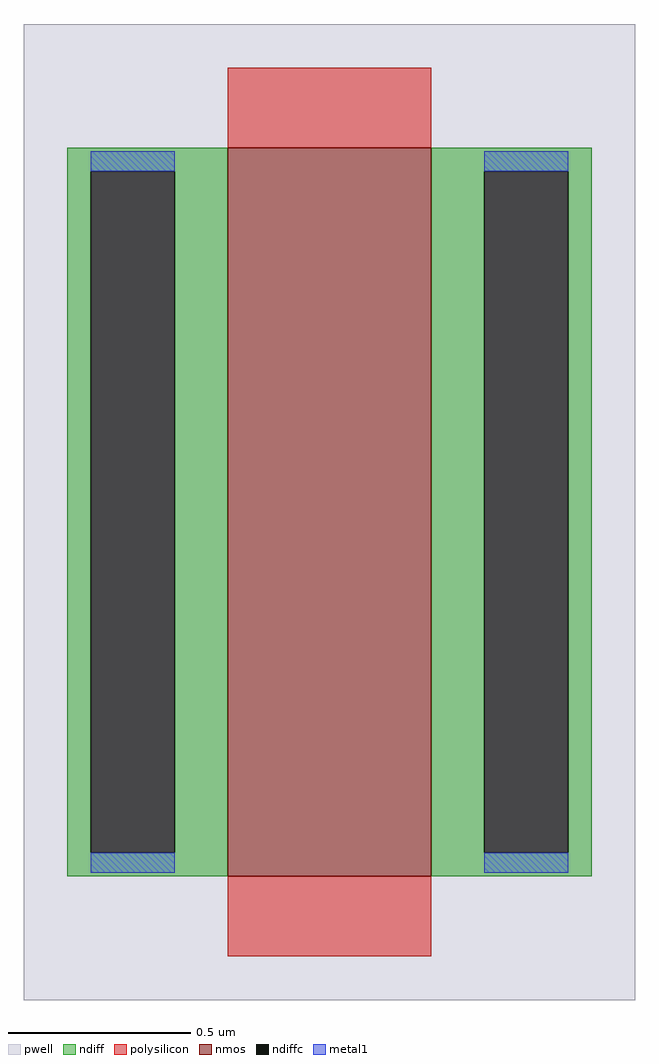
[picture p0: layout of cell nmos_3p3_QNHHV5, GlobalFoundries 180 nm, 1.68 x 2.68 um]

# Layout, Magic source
magic
tech gf180mcuC
magscale 1 10
<< pwell >>
rect -168 -268 168 268
<< nmos >>
rect -56 -200 56 200
<< ndiff >>
rect -144 187 -56 200
rect -144 -187 -131 187
rect -85 -187 -56 187
rect -144 -200 -56 -187
rect 56 187 144 200
rect 56 -187 85 187
rect 131 -187 144 187
rect 56 -200 144 -187
<< ndiffc >>
rect -131 -187 -85 187
rect 85 -187 131 187
<< polysilicon >>
rect -56 200 56 244
rect -56 -244 56 -200
<< metal1 >>
rect -131 187 -85 198
rect -131 -198 -85 -187
rect 85 187 131 198
rect 85 -198 131 -187
<< properties >>
string gencell nmos_3p3
string library gf180mcu
string parameters w 2 l 0.56 m 1 nf 1 diffcov 100 polycov 100 guard 0 glc 0 grc 0 gtc 0 gbc 0 tbcov 100 rlcov 100 topc 0 botc 0 poverlap 0 doverlap 1 lmin 0.28 wmin 0.22 full_metal 0 compatible {nmos_3p3 nmos_6p0 nmos_6p0_nat}
<< end >>
